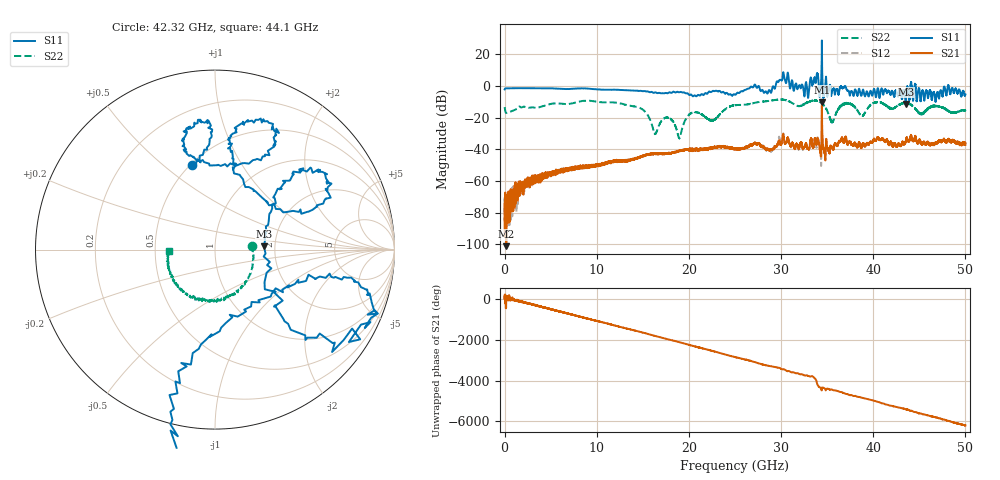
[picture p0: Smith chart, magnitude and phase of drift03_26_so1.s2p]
!Created with skrf (http://scikit-rf.org).
# Hz S RI R 50.0
!freq ReS11 ImS11 ReS21 ImS21 ReS12 ImS12 ReS22 ImS22
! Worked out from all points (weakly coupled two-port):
!   10000 points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, 5.3 MHz to 50 GHz, reference 50 ohm
!   highest |S21| = -10.20 dB at 34.43 GHz (marker M1); lowest = -101.1 dB at 185.3 MHz (marker M2)
!   lowest |S11| = -11.3 dB at 43.52 GHz (marker M3), VSWR 1.75, Z = 87.4 + j3.62 ohm
!   |S11| at or under -10 dB: 43.49342 GHz to 43.54244 GHz (49.02 MHz wide, 0.113 % of centre); 43.5497 GHz to 43.5504 GHz (702.7 kHz wide, 0.00161 % of centre); 46.76435 GHz to 46.7653 GHz (945.7 kHz wide, 0.00202 % of centre)
!   |S22| runs from -33.1 to -8.4 dB; largest |S21 - S12| = 0.096
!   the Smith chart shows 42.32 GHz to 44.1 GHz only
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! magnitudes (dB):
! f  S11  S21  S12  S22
! 5.3 MHz  -2.1  -74.6  -70.3  -13.3
! 185.3 MHz  -1.4  -101.1  -70.3  -17.0
! 2.78 GHz  -1.4  -61.7  -59.4  -13.6
! 8.34 GHz  -1.5  -51.3  -51.1  -9.5
! 14.53 GHz  -3.1  -45.2  -45.5  -13.5
! 16.67 GHz  -4.4  -42.6  -42.8  -26.0
! 17.82 GHz  -4.2  -42.1  -42.6  -20.2
! 18.98 GHz  -3.9  -41.0  -41.0  -33.1
! 20.27 GHz  -5.4  -39.9  -39.5  -17.2
! 22.56 GHz  -3.1  -38.9  -39.1  -21.6
! 25.01 GHz  -5.5  -39.7  -39.7  -12.1
! 28.72 GHz  -2.5  -40.5  -40.5  -9.4
! 30.14 GHz  4.4  -33.5  -34.0  -8.5
! 32.74 GHz  2.0  -36.9  -36.6  -10.7
! 33.34 GHz  2.6  -35.0  -34.9  -9.4
! 34.43 GHz  28.8  -10.2  -12.4  -10.9
! 35.54 GHz  -3.1  -38.9  -38.9  -23.0
! 36.95 GHz  0.1  -33.1  -33.2  -11.1
! 38.76 GHz  -5.5  -38.1  -38.2  -18.9
! 41.67 GHz  -3.1  -37.2  -36.8  -13.5
! 43.52 GHz  -11.3  -35.0  -35.3  -10.8
! 50 GHz  -5.3  -37.1  -36.3  -15.6
